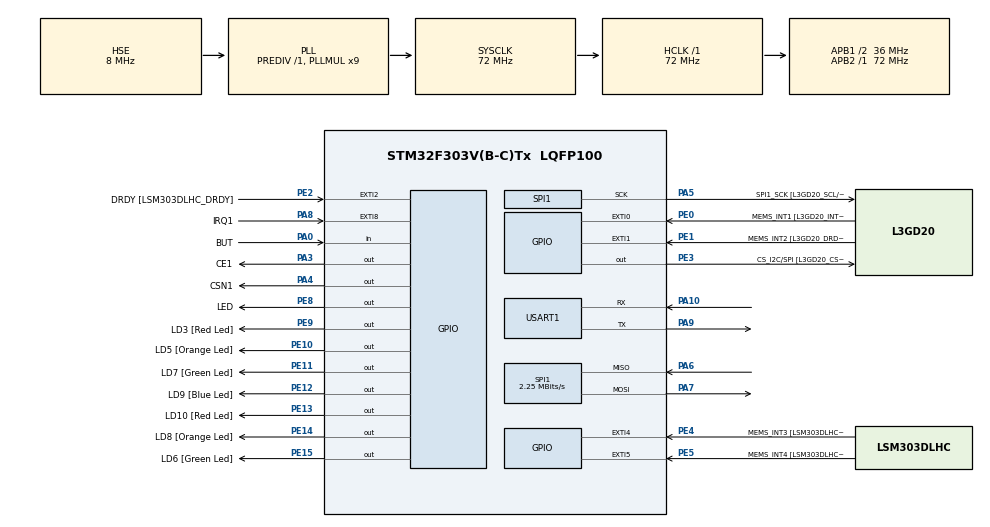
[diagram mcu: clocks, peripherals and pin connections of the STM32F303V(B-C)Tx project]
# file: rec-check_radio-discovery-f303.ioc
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Mcu.Family=STM32F3
Mcu.Name=STM32F303V(B-C)Tx
Mcu.Package=LQFP100
NVIC.EXTI9_5_IRQn=true\:0\:0\:false\:false\:true\:true\:true
NVIC.PriorityGroup=NVIC_PRIORITYGROUP_0
NVIC.TIM1_UP_TIM16_IRQn=true\:0\:0\:false\:false\:true\:true\:true
PA0.GPIO_Label=BUT
PA0.GPIO_PuPd=GPIO_NOPULL
PA0.Signal=GPIO_Input
PA10.Mode=Asynchronous
PA10.Signal=USART1_RX
PA13.GPIO_Label=SWDIO
PA13.Mode=Serial_Wire
PA13.Signal=SYS_JTMS-SWDIO
PA14.GPIO_Label=SWCLK
PA14.Mode=Serial_Wire
PA14.Signal=SYS_JTCK-SWCLK
PA3.GPIO_Label=CE1
PA3.Signal=GPIO_Output
PA4.GPIO_Label=CSN1
PA4.Signal=GPIO_Output
PA5.GPIO_Label=SPI1_SCK [L3GD20_SCL/SPC]
PA5.Mode=Full_Duplex_Master
PA5.Signal=SPI1_SCK
PA6.Mode=Full_Duplex_Master
PA6.Signal=SPI1_MISO
PA7.Mode=Full_Duplex_Master
PA7.Signal=SPI1_MOSI
PA8.GPIO_Label=IRQ1
PA8.GPIO_ModeDefaultEXTI=GPIO_MODE_IT_FALLING
PA8.GPIO_PuPd=GPIO_NOPULL
PA8.Signal=GPXTI8
PA9.Mode=Asynchronous
PA9.Signal=USART1_TX
PB3.GPIO_Label=SWO
PB3.Signal=SYS_JTDO-TRACESWO
PC14-OSC32_IN.GPIO_Label=OSC32_IN
PC14-OSC32_IN.Signal=RCC_OSC32_IN
PC15-OSC32_OUT.GPIO_Label=OSC32_OUT
PC15-OSC32_OUT.Signal=RCC_OSC32_OUT
PE0.GPIO_Label=MEMS_INT1 [L3GD20_INT1]
PE0.GPIO_ModeDefaultEXTI=GPIO_MODE_EVT_RISING
PE0.Signal=GPXTI0
PE1.GPIO_Label=MEMS_INT2 [L3GD20_DRDY/INT2]
PE1.GPIO_ModeDefaultEXTI=GPIO_MODE_EVT_RISING
PE1.Signal=GPXTI1
PE10.GPIO_Label=LD5 [Orange Led]
PE10.Signal=GPIO_Output
PE11.GPIO_Label=LD7 [Green Led]
PE11.Signal=GPIO_Output
PE12.GPIO_Label=LD9 [Blue Led]
PE12.Signal=GPIO_Output
PE13.GPIO_Label=LD10 [Red Led]
PE13.Signal=GPIO_Output
PE14.GPIO_Label=LD8 [Orange Led]
PE14.Signal=GPIO_Output
PE15.GPIO_Label=LD6 [Green Led]
PE15.Signal=GPIO_Output
PE2.GPIO_Label=DRDY [LSM303DLHC_DRDY]
PE2.GPIO_ModeDefaultEXTI=GPIO_MODE_EVT_RISING
PE2.Signal=GPXTI2
PE3.GPIO_Label=CS_I2C/SPI [L3GD20_CS_I2C/SPI]
PE3.Signal=GPIO_Output
PE4.GPIO_Label=MEMS_INT3 [LSM303DLHC_INT1]
PE4.GPIO_ModeDefaultEXTI=GPIO_MODE_EVT_RISING
PE4.Signal=GPXTI4
PE5.GPIO_Label=MEMS_INT4 [LSM303DLHC_INT2]
PE5.GPIO_ModeDefaultEXTI=GPIO_MODE_EVT_RISING
PE5.Signal=GPXTI5
PE8.GPIO_Label=LED
PE8.Signal=GPIO_Output
PE9.GPIO_Label=LD3 [Red Led]
PE9.Signal=GPIO_Output
PF0-OSC_IN.GPIO_Label=OSC_IN
PF0-OSC_IN.Mode=HSE-External-Clock-Source
PF0-OSC_IN.Signal=RCC_OSC_IN
PF1-OSC_OUT.GPIO_Label=OSC_OUT
PF1-OSC_OUT.Signal=RCC_OSC_OUT
ProjectManager.HeapSize=0x200
ProjectManager.StackSize=0x400
ProjectManager.TargetToolchain=MDK-ARM V5
RCC.AHBFreq_Value=72000000
RCC.APB1CLKDivider=RCC_HCLK_DIV2
RCC.APB1Freq_Value=36000000
RCC.APB1TimFreq_Value=72000000
RCC.APB2Freq_Value=72000000
RCC.APB2TimFreq_Value=72000000
RCC.CortexFreq_Value=72000000
RCC.HCLKFreq_Value=72000000
RCC.HSE_VALUE=8000000
RCC.HSI_VALUE=8000000
RCC.LSE_VALUE=32768
RCC.PLLMUL=RCC_PLL_MUL9
RCC.PLLSourceVirtual=RCC_PLLSOURCE_HSE
RCC.PRESCALERUSB=RCC_USBCLKSOURCE_PLL_DIV1_5
RCC.SYSCLKFreq_VALUE=72000000
RCC.SYSCLKSourceVirtual=RCC_SYSCLKSOURCE_PLLCLK
RCC.USBFreq_Value=48000000
SPI1.BaudRatePrescaler=SPI_BAUDRATEPRESCALER_32
SPI1.CalculateBaudRate=2.25 MBits/s
SPI1.DataSize=SPI_DATASIZE_8BIT
SPI1.Direction=SPI_DIRECTION_2LINES
SPI1.Mode=SPI_MODE_MASTER
SPI1.VirtualType=VM_MASTER
TIM1.Period=3000
TIM1.Prescaler=6399
USART1.VirtualMode-Asynchronous=VM_ASYNC
VP_TIM1_VS_ClockSourceINT.Mode=Internal
board=STM32F3DISCOVERY

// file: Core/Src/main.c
/* USER CODE BEGIN Header */
/**
  ******************************************************************************
  * @file           : main.c
  * @brief          : Main program body
  ******************************************************************************
  * @attention
  *
  * <h2><center>&copy; Copyright (c) 2022 STMicroelectronics.
  * All rights reserved.</center></h2>
  *
  * This software component is licensed by ST under BSD 3-Clause license,
  * the "License"; You may not use this file except in compliance with the
  * License. You may obtain a copy of the License at:
  *                        opensource.org/licenses/BSD-3-Clause
  *
  ******************************************************************************
  */
/* USER CODE END Header */
#include "main.h"

/* USER CODE BEGIN Includes */
#include "NRF24.h"

#include <string.h>
/* USER CODE END Includes */

SPI_HandleTypeDef hspi1;

TIM_HandleTypeDef htim1;

UART_HandleTypeDef huart1;

/* USER CODE BEGIN PV */
char str1[20]={0};

uint8_t buf1[1]={0};
uint8_t buf2[1]={0};
uint8_t dt_reg=0;

uint8_t receive=0x03;
/* USER CODE END PV */

void SystemClock_Config(void);
static void MX_GPIO_Init(void);
static void MX_SPI1_Init(void);
static void MX_USART1_UART_Init(void);
static void MX_TIM1_Init(void);

int main(void)
{
  /* USER CODE BEGIN 1 */
	uint8_t retr_cnt, dt;
	uint8_t i=0;
  /* USER CODE END 1 */

  /* MCU Configuration--------------------------------------------------------*/

  /* Reset of all peripherals, Initializes the Flash interface and the Systick. */
  HAL_Init();

  /* Configure the system clock */
  SystemClock_Config();

  /* Initialize all configured peripherals */
  MX_GPIO_Init();
  MX_SPI1_Init();
  MX_USART1_UART_Init();
  MX_TIM1_Init();
  /* USER CODE BEGIN 2 */
		HAL_TIM_Base_Start_IT(&htim1);

	NRF24_ini();
	HAL_Delay(200);
  /* USER CODE END 2 */

  /* Infinite loop */
  while (1)
  {

    /* USER CODE BEGIN 3 */
							i=0;
//		do
//		{
			HAL_Delay(300);
		//LED2_TGL;
//			receive=NRF24L01_Receive();
//			i++;
//		}
//		while (receive!=0x85 && receive!=0x6F && i<15);

//	receive=NRF24L01_Receive();

	dt_reg = NRF24_ReadReg(CONFIG);

  sprintf(str1,"CONFIG: 0x%02X\r\n",dt_reg);
	sprintf(str1,"CONFIG: 0x%02X\r\n",dt_reg);
//  HAL_UART_Transmit(&huart1,(uint8_t*)str1,strlen(str1),0x1000);

  dt_reg = NRF24_ReadReg(EN_AA);

  sprintf(str1,"EN_AA: 0x%02X\r\n",dt_reg);

//  HAL_UART_Transmit(&huart1,(uint8_t*)str1,strlen(str1),0x1000);

  dt_reg = NRF24_ReadReg(EN_RXADDR);

  sprintf(str1,"EN_RXADDR: 0x%02X\r\n",dt_reg);

//  HAL_UART_Transmit(&huart1,(uint8_t*)str1,strlen(str1),0x1000);

  dt_reg = NRF24_ReadReg(STATUS);

  sprintf(str1,"STATUS: 0x%02X\r\n",dt_reg);

//  HAL_UART_Transmit(&huart1,(uint8_t*)str1,strlen(str1),0x1000);

  dt_reg = NRF24_ReadReg(RF_SETUP);

  sprintf(str1,"RF_SETUP: 0x%02X\r\n",dt_reg);

//  HAL_UART_Transmit(&huart1,(uint8_t*)str1,strlen(str1),0x1000);

//  NRF24_Read_Buf(TX_ADDR,buf1,3);

//  sprintf(str1,"TX_ADDR: 0x%02X, 0x%02X, 0x%02Xrn",buf1[0],buf1[1],buf1[2]);

//  HAL_UART_Transmit(&huart1,(uint8_t*)str1,strlen(str1),0x1000);

//  NRF24_Read_Buf(RX_ADDR_P1,buf1,3);

//  sprintf(str1,"RX_ADDR: 0x%02X, 0x%02X, 0x%02Xrn",buf1[0],buf1[1],buf1[2]);

//  HAL_UART_Transmit(&huart1,(uint8_t*)str1,strlen(str1),0x1000);
  }
  /* USER CODE END 3 */
}

void SystemClock_Config(void)
{
  RCC_OscInitTypeDef RCC_OscInitStruct = {0};
  RCC_ClkInitTypeDef RCC_ClkInitStruct = {0};
  RCC_PeriphCLKInitTypeDef PeriphClkInit = {0};

  /** Initializes the RCC Oscillators according to the specified parameters
  * in the RCC_OscInitTypeDef structure.
  */
  RCC_OscInitStruct.OscillatorType = RCC_OSCILLATORTYPE_HSE;
  RCC_OscInitStruct.HSEState = RCC_HSE_BYPASS;
  RCC_OscInitStruct.HSEPredivValue = RCC_HSE_PREDIV_DIV1;
  RCC_OscInitStruct.HSIState = RCC_HSI_ON;
  RCC_OscInitStruct.PLL.PLLState = RCC_PLL_ON;
  RCC_OscInitStruct.PLL.PLLSource = RCC_PLLSOURCE_HSE;
  RCC_OscInitStruct.PLL.PLLMUL = RCC_PLL_MUL9;
  if (HAL_RCC_OscConfig(&RCC_OscInitStruct) != HAL_OK)
  {
    Error_Handler();
  }
  /** Initializes the CPU, AHB and APB buses clocks
  */
  RCC_ClkInitStruct.ClockType = RCC_CLOCKTYPE_HCLK|RCC_CLOCKTYPE_SYSCLK
                              |RCC_CLOCKTYPE_PCLK1|RCC_CLOCKTYPE_PCLK2;
  RCC_ClkInitStruct.SYSCLKSource = RCC_SYSCLKSOURCE_PLLCLK;
  RCC_ClkInitStruct.AHBCLKDivider = RCC_SYSCLK_DIV1;
  RCC_ClkInitStruct.APB1CLKDivider = RCC_HCLK_DIV2;
  RCC_ClkInitStruct.APB2CLKDivider = RCC_HCLK_DIV1;

  if (HAL_RCC_ClockConfig(&RCC_ClkInitStruct, FLASH_LATENCY_2) != HAL_OK)
  {
    Error_Handler();
  }
  PeriphClkInit.PeriphClockSelection = RCC_PERIPHCLK_USART1|RCC_PERIPHCLK_TIM1;
  PeriphClkInit.Usart1ClockSelection = RCC_USART1CLKSOURCE_PCLK2;
  PeriphClkInit.Tim1ClockSelection = RCC_TIM1CLK_HCLK;
  if (HAL_RCCEx_PeriphCLKConfig(&PeriphClkInit) != HAL_OK)
  {
    Error_Handler();
  }
}

static void MX_SPI1_Init(void)
{

  /* SPI1 parameter configuration*/
  hspi1.Instance = SPI1;
  hspi1.Init.Mode = SPI_MODE_MASTER;
  hspi1.Init.Direction = SPI_DIRECTION_2LINES;
  hspi1.Init.DataSize = SPI_DATASIZE_8BIT;
  hspi1.Init.CLKPolarity = SPI_POLARITY_LOW;
  hspi1.Init.CLKPhase = SPI_PHASE_1EDGE;
  hspi1.Init.NSS = SPI_NSS_SOFT;
  hspi1.Init.BaudRatePrescaler = SPI_BAUDRATEPRESCALER_32;
  hspi1.Init.FirstBit = SPI_FIRSTBIT_MSB;
  hspi1.Init.TIMode = SPI_TIMODE_DISABLE;
  hspi1.Init.CRCCalculation = SPI_CRCCALCULATION_DISABLE;
  hspi1.Init.CRCPolynomial = 7;
  hspi1.Init.CRCLength = SPI_CRC_LENGTH_DATASIZE;
  hspi1.Init.NSSPMode = SPI_NSS_PULSE_ENABLE;
  if (HAL_SPI_Init(&hspi1) != HAL_OK)
  {
    Error_Handler();
  }

}

static void MX_TIM1_Init(void)
{

  TIM_ClockConfigTypeDef sClockSourceConfig = {0};
  TIM_MasterConfigTypeDef sMasterConfig = {0};

  htim1.Instance = TIM1;
  htim1.Init.Prescaler = 6399;
  htim1.Init.CounterMode = TIM_COUNTERMODE_UP;
  htim1.Init.Period = 3000;
  htim1.Init.ClockDivision = TIM_CLOCKDIVISION_DIV1;
  htim1.Init.RepetitionCounter = 0;
  htim1.Init.AutoReloadPreload = TIM_AUTORELOAD_PRELOAD_DISABLE;
  if (HAL_TIM_Base_Init(&htim1) != HAL_OK)
  {
    Error_Handler();
  }
  sClockSourceConfig.ClockSource = TIM_CLOCKSOURCE_INTERNAL;
  if (HAL_TIM_ConfigClockSource(&htim1, &sClockSourceConfig) != HAL_OK)
  {
    Error_Handler();
  }
  sMasterConfig.MasterOutputTrigger = TIM_TRGO_RESET;
  sMasterConfig.MasterOutputTrigger2 = TIM_TRGO2_RESET;
  sMasterConfig.MasterSlaveMode = TIM_MASTERSLAVEMODE_DISABLE;
  if (HAL_TIMEx_MasterConfigSynchronization(&htim1, &sMasterConfig) != HAL_OK)
  {
    Error_Handler();
  }

}

static void MX_USART1_UART_Init(void)
{

  huart1.Instance = USART1;
  huart1.Init.BaudRate = 38400;
  huart1.Init.WordLength = UART_WORDLENGTH_8B;
  huart1.Init.StopBits = UART_STOPBITS_1;
  huart1.Init.Parity = UART_PARITY_NONE;
  huart1.Init.Mode = UART_MODE_TX_RX;
  huart1.Init.HwFlowCtl = UART_HWCONTROL_NONE;
  huart1.Init.OverSampling = UART_OVERSAMPLING_16;
  huart1.Init.OneBitSampling = UART_ONE_BIT_SAMPLE_DISABLE;
  huart1.AdvancedInit.AdvFeatureInit = UART_ADVFEATURE_NO_INIT;
  if (HAL_UART_Init(&huart1) != HAL_OK)
  {
    Error_Handler();
  }

}

static void MX_GPIO_Init(void)
{
  GPIO_InitTypeDef GPIO_InitStruct = {0};

  /* GPIO Ports Clock Enable */
  __HAL_RCC_GPIOE_CLK_ENABLE();
  __HAL_RCC_GPIOC_CLK_ENABLE();
  __HAL_RCC_GPIOF_CLK_ENABLE();
  __HAL_RCC_GPIOA_CLK_ENABLE();
  __HAL_RCC_GPIOB_CLK_ENABLE();

  /*Configure GPIO pin Output Level */
  HAL_GPIO_WritePin(GPIOE, CS_I2C_SPI_Pin|LED_Pin|LD3_Pin|LD5_Pin
                          |LD7_Pin|LD9_Pin|LD10_Pin|LD8_Pin
                          |LD6_Pin, GPIO_PIN_RESET);

  /*Configure GPIO pin Output Level */
  HAL_GPIO_WritePin(GPIOA, CE1_Pin|CSN1_Pin, GPIO_PIN_RESET);

  /*Configure GPIO pins : DRDY_Pin MEMS_INT3_Pin MEMS_INT4_Pin MEMS_INT1_Pin
                           MEMS_INT2_Pin */
  GPIO_InitStruct.Pin = DRDY_Pin|MEMS_INT3_Pin|MEMS_INT4_Pin|MEMS_INT1_Pin
                          |MEMS_INT2_Pin;
  GPIO_InitStruct.Mode = GPIO_MODE_EVT_RISING;
  GPIO_InitStruct.Pull = GPIO_NOPULL;
  HAL_GPIO_Init(GPIOE, &GPIO_InitStruct);

  /*Configure GPIO pins : CS_I2C_SPI_Pin LED_Pin LD3_Pin LD5_Pin
                           LD7_Pin LD9_Pin LD10_Pin LD8_Pin
                           LD6_Pin */
  GPIO_InitStruct.Pin = CS_I2C_SPI_Pin|LED_Pin|LD3_Pin|LD5_Pin
                          |LD7_Pin|LD9_Pin|LD10_Pin|LD8_Pin
                          |LD6_Pin;
  GPIO_InitStruct.Mode = GPIO_MODE_OUTPUT_PP;
  GPIO_InitStruct.Pull = GPIO_NOPULL;
  GPIO_InitStruct.Speed = GPIO_SPEED_FREQ_LOW;
  HAL_GPIO_Init(GPIOE, &GPIO_InitStruct);

  /*Configure GPIO pin : BUT_Pin */
  GPIO_InitStruct.Pin = BUT_Pin;
  GPIO_InitStruct.Mode = GPIO_MODE_INPUT;
  GPIO_InitStruct.Pull = GPIO_NOPULL;
  HAL_GPIO_Init(BUT_GPIO_Port, &GPIO_InitStruct);

  /*Configure GPIO pins : CE1_Pin CSN1_Pin */
  GPIO_InitStruct.Pin = CE1_Pin|CSN1_Pin;
  GPIO_InitStruct.Mode = GPIO_MODE_OUTPUT_PP;
  GPIO_InitStruct.Pull = GPIO_NOPULL;
  GPIO_InitStruct.Speed = GPIO_SPEED_FREQ_LOW;
  HAL_GPIO_Init(GPIOA, &GPIO_InitStruct);

  /*Configure GPIO pin : IRQ1_Pin */
  GPIO_InitStruct.Pin = IRQ1_Pin;
  GPIO_InitStruct.Mode = GPIO_MODE_IT_FALLING;
  GPIO_InitStruct.Pull = GPIO_NOPULL;
  HAL_GPIO_Init(IRQ1_GPIO_Port, &GPIO_InitStruct);

  /* EXTI interrupt init*/
  HAL_NVIC_SetPriority(EXTI9_5_IRQn, 0, 0);
  HAL_NVIC_EnableIRQ(EXTI9_5_IRQn);

}

void Error_Handler(void)
{
  __disable_irq();
  while (1)
  {
  }
}

/************************ (C) COPYRIGHT STMicroelectronics *****END OF FILE****/
